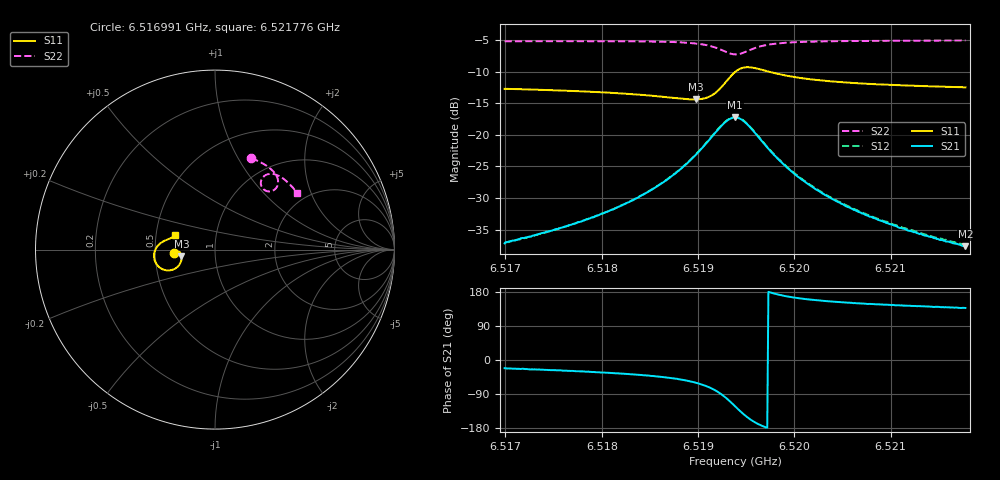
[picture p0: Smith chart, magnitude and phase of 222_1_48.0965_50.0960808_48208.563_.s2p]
#  HZ  S  RI  R  50.00
! Rohde & Schwarz Vector Network Analyzer
! Rohde-Schwarz,ZNB20-2Port,1311601062101988,3.16
! Created: UTC 12/23/2023, 3:56:51 AM
! freq[Hz]  re:S11  im:S11  re:S21  im:S21  re:S12  im:S12  re:S22  im:S22
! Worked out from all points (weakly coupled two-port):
!   401 points, 6.516991 GHz to 6.521776 GHz, reference 50 ohm
!   highest |S21| = -17.26 dB at 6.519383 GHz (marker M1); lowest = -37.6 dB at 6.521776 GHz (marker M2)
!   lowest |S11| = -14.4 dB at 6.518977 GHz (marker M3), VSWR 1.47, Z = 34.2 - j2.63 ohm
!   |S11| at or under -10 dB: start of sweep to 6.51939 GHz; 6.519729 GHz to end of sweep
!   |S22| runs from -7.3 to -5.1 dB; largest |S21 - S12| = 0.0044
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6.516991e9  -0.2302 -0.0173  0.0129 -0.00513  0.0132 -0.00477  0.2026 0.5096
6.5174096e9  -0.2258 -0.0112  0.0152 -0.0074  0.0154 -0.00699  0.2334 0.4965
6.5177924e9  -0.2204 -0.00669  0.0179 -0.0103  0.0183 -0.00991  0.2617 0.4822
6.5182469e9  -0.2113 -0.00452  0.023 -0.0171  0.0236 -0.0163  0.2958 0.4609
6.5185938e9  -0.2009 -0.009  0.0289 -0.0278  0.0298 -0.027  0.3227 0.4381
6.5187852e9  -0.1935 -0.0177  0.0331 -0.0391  0.0342 -0.0383  0.3374 0.4203
6.5189766e9  -0.1867 -0.037  0.0347 -0.0602  0.0369 -0.0595  0.3497 0.3933
6.5190842e9  -0.1872 -0.0573  0.0309 -0.0798  0.0337 -0.0794  0.3516 0.3717
6.519168e9  -0.1955 -0.0795  0.0201 -0.0998  0.0233 -0.0999  0.3455 0.3508
6.5192876e9  -0.2359 -0.1121  -0.021 -0.1253  -0.0175 -0.1269  0.3144 0.3254
6.5193354e9  -0.2638 -0.116  -0.0466 -0.1259  -0.0432 -0.1284  0.2945 0.3244
6.5193833e9  -0.2936 -0.1088  -0.0726 -0.1163  -0.0696 -0.1194  0.2748 0.3326
6.5194311e9  -0.3187 -0.0901  -0.0928 -0.0975  -0.0906 -0.1009  0.2607 0.3485
6.5194909e9  -0.3364 -0.0586  -0.1048 -0.0682  -0.1038 -0.0718  0.2551 0.3728
6.5195866e9  -0.3367 -0.0129  -0.1004 -0.0289  -0.1003 -0.0321  0.2672 0.4031
6.5196943e9  -0.321 0.0184  -0.0833 -0.00462  -0.0839 -0.00715  0.29 0.4186
6.5199096e9  -0.2908 0.0442  -0.0553 0.0112  -0.0561 0.00967  0.3283 0.4206
6.5201847e9  -0.2678 0.055  -0.0362 0.014  -0.037 0.0132  0.3603 0.4084
6.5205435e9  -0.2512 0.0616  -0.0239 0.013  -0.0247 0.0125  0.3899 0.388
6.5209861e9  -0.2387 0.0682  -0.0163 0.0111  -0.0169 0.0109  0.4185 0.3617
6.521321e9  -0.2317 0.0729  -0.0129 0.0101  -0.0134 0.00997  0.4371 0.3414
6.5217756e9  -0.2237 0.0789  -0.0097 0.00896  -0.0101 0.00884  0.4595 0.3132
